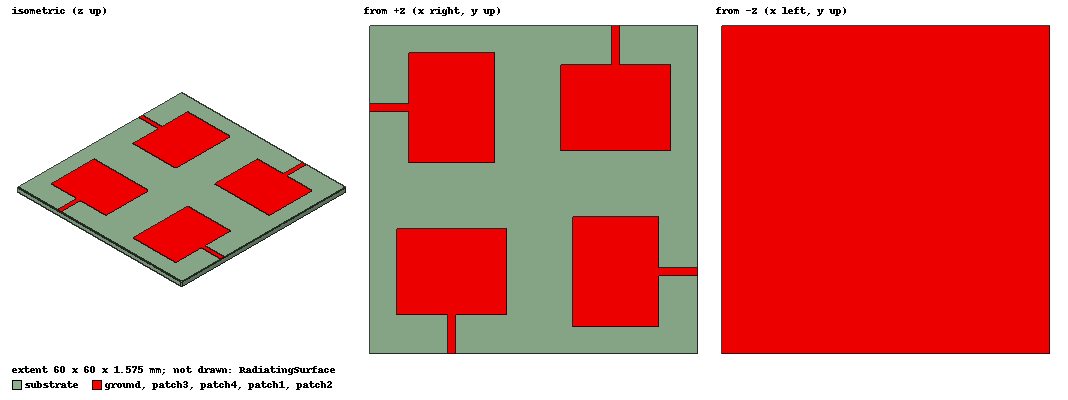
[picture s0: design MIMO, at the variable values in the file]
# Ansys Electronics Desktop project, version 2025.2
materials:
  vacuum: permittivity=1
  Rogers RT/duroid 5880 (tm): permittivity=2.2 dielectric_loss_tangent=0.0009

design MIMO (HFSS, HFSS Modal Network, model units mm)
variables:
  wg = 60mm
  lg = 60mm
  Wp = 20.09mm
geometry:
  substrate [Rogers RT/duroid 5880 (tm)] = box(corner=(-wg/2, -lg/2, 0mm), size=(60mm, 60mm, 1.575mm))
  patch1 = rectangle(corner=(-Wp/2+14.95mm, -15.75mm/2+14.95mm, 1.575mm), x_size=wp, y_size=15.75mm)
  feedline = rectangle(corner=(-1.4mm/2+14.95mm, -1.4mm/2+14.95mm, 1.575mm), x_size=1.4mm, y_size=15.75mm)
  patch1.unite(feedline)
  excitation2 = rectangle(corner=(0.75mm+14.95mm, 15mm+14.95mm, 1.575mm), z_size=-1.575mm, x_size=-1.4mm)
  patch2 = rectangle(corner=(-Wp/2+14.95mm, -15.75mm/2+14.95mm, 1.575mm), x_size=wp, y_size=15.75mm)
  feedline1 = rectangle(corner=(-1.4mm/2+14.95mm, -1.4mm/2+14.95mm, 1.575mm), x_size=1.4mm, y_size=15.75mm)
  patch2.unite(feedline1)
  patch2.rotate(axis=Z, angle=90deg)
  excitation1 = rectangle(corner=(0.75mm+14.95mm, 15mm+14.95mm, 1.575mm), z_size=-1.575mm, x_size=-1.4mm)
  excitation1.rotate(axis=Z, angle=90deg)
  patch3 = rectangle(corner=(-Wp/2+14.95mm, -15.75mm/2+14.95mm, 1.575mm), x_size=wp, y_size=15.75mm)
  feedline2 = rectangle(corner=(-1.4mm/2+14.95mm, -1.4mm/2+14.95mm, 1.575mm), x_size=1.4mm, y_size=15.75mm)
  patch3.unite(feedline2)
  patch3.rotate(axis=Z, angle=90deg)
  patch3.rotate(axis=Z, angle=90deg)
  excitation3 = rectangle(corner=(0.75mm+14.95mm, 15mm+14.95mm, 1.575mm), z_size=-1.575mm, x_size=-1.4mm)
  excitation3.rotate(axis=Z, angle=90deg)
  excitation3.rotate(axis=Z, angle=90deg)
  patch4 = rectangle(corner=(-Wp/2+14.95mm, -15.75mm/2+14.95mm, 1.575mm), x_size=wp, y_size=15.75mm)
  feedline3 = rectangle(corner=(-1.4mm/2+14.95mm, -1.4mm/2+14.95mm, 1.575mm), x_size=1.4mm, y_size=15.75mm)
  patch4.unite(feedline3)
  patch4.rotate(axis=Z, angle=90deg)
  patch4.rotate(axis=Z, angle=90deg)
  patch4.rotate(axis=Z, angle=90deg)
  excitation4 = rectangle(corner=(0.75mm+14.95mm, 15mm+14.95mm, 1.575mm), z_size=-1.575mm, x_size=-1.4mm)
  excitation4.rotate(axis=Z, angle=90deg)
  excitation4.rotate(axis=Z, angle=90deg)
  excitation4.rotate(axis=Z, angle=90deg)
  ground = rectangle(corner=(-30mm, 30mm, 0mm), x_size=60mm, y_size=-60mm)
  RadiatingSurface [vacuum] = region(absolute_offset=16.949153mm on all sides)
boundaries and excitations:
  PerfE2: Perfect E Objects=patch1
  PerfE3: Perfect E Objects=patch2
  PerfE4: Perfect E Objects=patch3
  PerfE5: Perfect E Objects=patch4
  Open1: Radiation Objects=RadiatingSurface
  PerfE6: Perfect E Objects=ground
  1: Lumped Port Objects=excitation2 LumpedPortType=Modal Modes{Mode1{IntLine{(15, 29.95, 0) -> (15000mm, 29950mm, 1500mm)} CharImp=Zpi}} Impedance=50ohm
  2: Lumped Port Objects=excitation1 LumpedPortType=Modal Modes{Mode1{IntLine{(-29.95, 15, 0) -> (-29950mm, 15000mm, 1500mm)} CharImp=Zpi}} Impedance=50ohm
  3: Lumped Port Objects=excitation3 LumpedPortType=Modal Modes{Mode1{IntLine{(-15, -29.95, 0) -> (-15000mm, -29950mm, 1500mm)} CharImp=Zpi}} Impedance=50ohm
  4: Lumped Port Objects=excitation4 LumpedPortType=Modal Modes{Mode1{IntLine{(29.95, -15, 0) -> (29950mm, -15000mm, 1500mm)} CharImp=Zpi}} Impedance=50ohm
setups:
  Setup1: HfssDriven Frequency=5GHz MaxDeltaS=0.02 MaximumPasses=12 MinimumPasses=1 MinimumConvergedPasses=1 PercentRefinement=30 BasisOrder=1 PortAccuracy=2 DrivenSolverType="Direct Solver"
    sweep Sweep: 2.5GHz to 7.5GHz, 1001 points; Type=Interpolating InterpTolerance=0.5 InterpMaxSolns=250 InterpUsePortImped=false PassivityErrorTolerance=0.0001
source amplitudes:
  1:1, 2:1, 3:1, 4:1: 1V 0deg
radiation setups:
  3D: Infinite Sphere Theta=0deg..180deg step 2deg Phi=-180deg..180deg step 2deg
  Elevation: Infinite Sphere Theta=-180deg..180deg step 1deg Phi=0deg..90deg step 90deg
  Azimuth: Infinite Sphere Theta=90deg..90deg step 0deg Phi=-180deg..180deg step 1deg
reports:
  S Parameter Plot1: dB(S(1,1)) vs Freq on Setup1 : Sweep
  Gain Plot1: dB(GainTotal) vs Theta on Setup1 : LastAdaptive, 3D [Phi=all Freq=5GHz]
  VSWR Plot1: VSWR(1) vs Freq on Setup1 : Sweep
